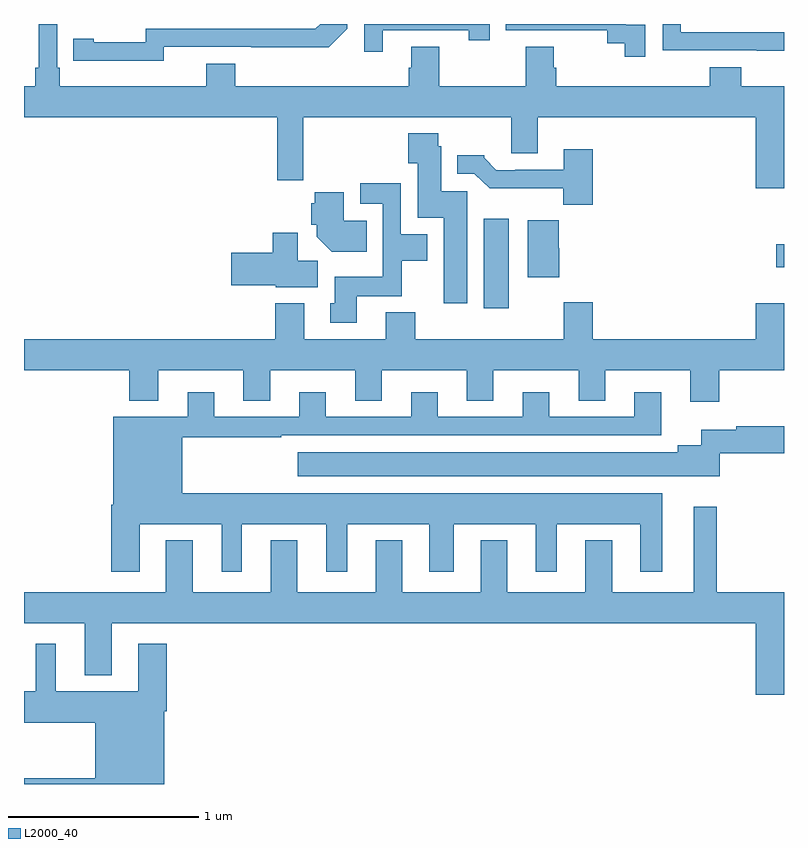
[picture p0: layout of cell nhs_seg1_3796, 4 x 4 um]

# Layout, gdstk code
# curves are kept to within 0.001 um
import gdstk
lib = gdstk.Library(unit=1e-6, precision=1e-09)
def R(c, l, rs):  # rectangles x0, y0, x1, y1
    for r in rs: c.add(gdstk.rectangle(r[:2], r[2:], *l))
def P(c, l, *ps):  # polygons
    for p in ps: c.add(gdstk.Polygon(p, *l))
L2000_40 = (2000, 40)

nhs_seg1_3796 = lib.new_cell('nhs_seg1_3796')
R(nhs_seg1_3796, L2000_40, [(319.421,574.704,319.552,575.173), (320.958,574.919,321,575.041)])
P(nhs_seg1_3796, L2000_40, [(321,575.872),(320.774,575.872),(320.774,575.971),(320.609,575.971),(320.609,575.872),(319.802,575.872),(319.802,575.97),(319.789,575.97),(319.789,576.08),(319.642,576.08),(319.642,575.872),(319.185,575.872),(319.185,576.08),(319.037,576.08),(319.037,575.97),(319.025,575.97),(319.025,575.872),(318.113,575.872),(318.113,575.989),(317.96,575.989),(317.96,575.872),(317.189,575.872),(317.189,575.968),(317.175,575.968),(317.175,576.199),(317.078,576.199),(317.078,575.968),(317.059,575.968),(317.059,575.872),(317,575.872),(317,575.708),(318.334,575.708),(318.334,575.376),(318.47,575.376),(318.47,575.708),(319.565,575.708),(319.565,575.518),(319.705,575.518),(319.705,575.708),(320.852,575.708),(320.852,575.334),(321,575.334)],
  [(317.736,576.078),(318.604,576.077),(318.702,576.174),(318.702,576.199),(318.559,576.199),(318.534,576.174),(317.64,576.174),(317.64,576.102),(317.368,576.102),(317.368,576.122),(317.26,576.122),(317.26,576.006),(317.736,576.005)],
  [(320.271,576.195),(320.166,576.195),(320.166,576.199),(319.536,576.199),(319.536,576.165),(320.07,576.165),(320.07,576.097),(320.163,576.097),(320.163,576.027),(320.271,576.027)],
  [(321,576.156),(320.457,576.156),(320.457,576.199),(320.361,576.199),(320.361,576.06),(320.857,576.06),(320.857,576.059),(321,576.059)],
  [(318.889,576.165),(319.34,576.165),(319.34,576.114),(319.451,576.114),(319.451,576.199),(318.792,576.199),(318.792,576.054),(318.889,576.054)],
  [(319.333,575.319),(319.195,575.319),(319.195,575.556),(319.179,575.556),(319.179,575.623),(319.022,575.623),(319.022,575.467),(319.073,575.467),(319.073,575.18),(319.208,575.18),(319.208,574.728),(319.333,574.728)],
  [(319.994,575.539),(319.841,575.539),(319.841,575.433),(319.585,575.433),(319.585,575.43),(319.486,575.43),(319.422,575.494),(319.422,575.509),(319.28,575.509),(319.28,575.412),(319.371,575.412),(319.45,575.334),(319.839,575.334),(319.839,575.249),(319.994,575.249)],
  [(318.751,574.766),(318.987,574.766),(318.987,574.952),(319.123,574.952),(319.123,575.092),(318.984,575.092),(318.984,575.362),(318.771,575.362),(318.771,575.253),(318.888,575.253),(318.888,574.87),(318.635,574.87),(318.635,574.728),(318.611,574.728),(318.611,574.626),(318.751,574.626)],
  [(318.803,575.164),(318.682,575.164),(318.682,575.314),(318.53,575.314),(318.53,575.256),(318.512,575.256),(318.512,575.142),(318.542,575.142),(318.542,575.078),(318.62,575),(318.803,575)],
  [(319.816,575.019),(319.814,575.019),(319.814,575.167),(319.652,575.167),(319.652,574.866),(319.816,574.866)],
  [(318.547,574.952),(318.442,574.952),(318.442,575.101),(318.308,575.101),(318.308,574.994),(318.09,574.994),(318.09,574.823),(318.324,574.823),(318.324,574.814),(318.547,574.814)],
  [(320.66,574.376),(321,574.376),(321,574.729),(320.852,574.729),(320.852,574.54),(319.994,574.54),(319.994,574.735),(319.841,574.735),(319.841,574.54),(319.058,574.54),(319.058,574.681),(318.905,574.681),(318.905,574.54),(318.475,574.54),(318.475,574.729),(318.323,574.729),(318.323,574.54),(317,574.54),(317,574.376),(317.555,574.376),(317.555,574.217),(317.707,574.217),(317.707,574.376),(318.155,574.376),(318.155,574.216),(318.295,574.216),(318.295,574.376),(318.743,574.376),(318.743,574.216),(318.883,574.216),(318.883,574.376),(319.331,574.376),(319.331,574.216),(319.471,574.216),(319.471,574.376),(319.919,574.376),(319.919,574.216),(320.059,574.216),(320.059,574.376),(320.507,574.376),(320.507,574.212),(320.66,574.212)],
  [(317.608,573.566),(318.041,573.566),(318.041,573.315),(318.145,573.315),(318.145,573.566),(318.59,573.566),(318.59,573.315),(318.7,573.315),(318.7,573.566),(319.133,573.566),(319.133,573.315),(319.261,573.315),(319.261,573.566),(319.694,573.566),(319.694,573.315),(319.804,573.315),(319.804,573.566),(320.243,573.566),(320.243,573.315),(320.359,573.315),(320.359,573.73),(317.833,573.73),(317.833,574.023),(318.353,574.023),(318.353,574.035),(320.353,574.035),(320.353,574.261),(320.213,574.261),(320.213,574.131),(319.765,574.131),(319.765,574.261),(319.625,574.261),(319.625,574.131),(319.177,574.131),(319.177,574.261),(319.037,574.261),(319.037,574.131),(318.589,574.131),(318.589,574.261),(318.449,574.261),(318.449,574.131),(318.001,574.131),(318.001,574.261),(317.861,574.261),(317.861,574.132),(317.471,574.132),(317.471,573.67),(317.459,573.67),(317.459,573.315),(317.608,573.315)],
  [(320.661,573.941),(321,573.941),(321,574.083),(320.748,574.083),(320.748,574.063),(320.565,574.063),(320.565,573.982),(320.441,573.982),(320.441,573.946),(318.441,573.946),(318.441,573.818),(320.661,573.818)],
  [(321,573.208),(320.647,573.208),(320.647,573.658),(320.525,573.658),(320.525,573.208),(320.095,573.208),(320.095,573.481),(319.955,573.481),(319.955,573.208),(319.543,573.208),(319.543,573.481),(319.403,573.481),(319.403,573.208),(318.991,573.208),(318.991,573.481),(318.851,573.481),(318.851,573.208),(318.439,573.208),(318.439,573.481),(318.299,573.481),(318.299,573.208),(317.887,573.208),(317.887,573.481),(317.747,573.481),(317.747,573.208),(317,573.208),(317,573.044),(317.321,573.044),(317.321,572.771),(317.461,572.771),(317.461,573.044),(320.852,573.044),(320.852,572.67),(321,572.67)],
  [(317.737,572.582),(317.75,572.582),(317.75,572.938),(317.6,572.938),(317.6,572.686),(317.167,572.686),(317.167,572.938),(317.063,572.938),(317.063,572.686),(317,572.686),(317,572.522),(317.375,572.522),(317.375,572.23),(317,572.23),(317,572.199),(317.737,572.199)])

lib.write_gds('nhs_seg1_3796.gds')
